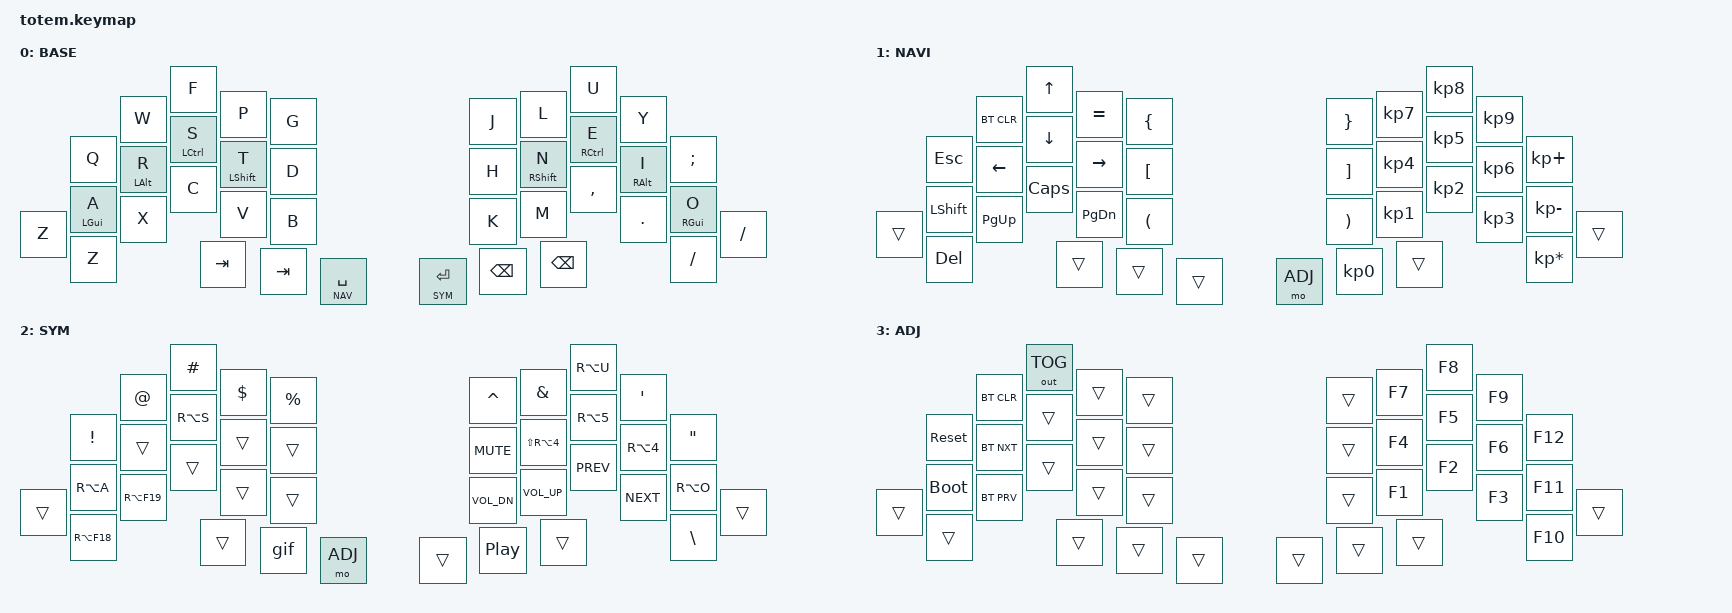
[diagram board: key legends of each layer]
//
//                                                        ▀▀▀▀▀     ▀▀▀▀▀          ▀▀█▀▀
//                                                        ▄▀▀▀▄  ▄  ▄▀▀▀▄  ▄  ▄▀▀▀▄  █  ▄▀▀▀▄
//                                                        █   █  █  █   █  █  █   █  █  █   █
//                                                         ▀▀▀   █   ▀▀▀   █   ▀▀▀   ▀   ▀▀▀
//                                                               █      ▄▄▄█▄▄▄    █   █
//                                                               ▀      █  █  █     █▄█
//                                                             ▀▀▀▀▀    █  █  █      ▀
//                                                                      ▀  ▀  ▀
//
// ─────────────────────────────────────────────────────────────────────────────────────────────────
// Shield-directory keymap (Colemak + German layer).
// This file is included by totem_dongle.keymap so both Mode 1 and Mode 2
// produce identical key behaviour.
// ─────────────────────────────────────────────────────────────────────────────────────────────────

#include <behaviors.dtsi>
#include <dt-bindings/zmk/keys.h>
#include <dt-bindings/zmk/bt.h>
#include <dt-bindings/zmk/outputs.h>

#define BASE 0
#define NAV  1
#define SYM  2
#define ADJ  3

&mt {
  quick-tap-ms = <100>;
  global-quick-tap;
  flavor = "tap-preferred";
  tapping-term-ms = <170>;
};

/ {
    combos {
            compatible = "zmk,combos";
            combo_esc {
                timeout-ms = <50>;
                key-positions = <0 1>;
                bindings = <&kp ESC>;
            };
    };

    macros {
        gif: gif {
            label = "giphy";
            compatible = "zmk,behavior-macro";
            #binding-cells = <0>;
            bindings
                = <&macro_press &kp LSHFT>
                , <&macro_tap &kp N2>
                , <&macro_release &kp LSHFT>
                , <&macro_tap &kp G &kp I &kp F>
                ;
        };
    };

        keymap {
                compatible = "zmk,keymap";
// ─────────────────────────────────────────────────────────────────────────────────────────────────

                base_layer {
// ┏━━━━━━━━━━━━━━━━━━━━━━━━━━━━━━━━━━━━━━━┓
label= "BASE"                              ;
// ┗━━━━━━━━━━━━━━━━━━━━━━━━━━━━━━━━━━━━━━━┛
 bindings = <
                &kp Q       &kp W       &kp F       &kp P       &kp G           &kp J       &kp L       &kp U       &kp Y       &kp SEMI
                &mt LGUI A  &mt LALT R  &mt LCTRL S &mt LSHFT T &kp D           &kp H       &mt RSHFT N &mt RCTRL E &mt RALT I  &mt RGUI O
    &kp Z       &kp Z       &kp X       &kp C       &kp V       &kp B           &kp K       &kp M       &kp COMMA   &kp DOT     &kp FSLH    &kp FSLH
                                        &kp TAB     &kp TAB     &lt NAV SPACE   &lt SYM RET &kp BSPC    &kp BSPC
                        >;
                };

// ─────────────────────────────────────────────────────────────────────────────────────────────────

                nav_layer {
// ┏━━━━━━━━━━━━━━━━━━━━━━━━━━━━━━━━━━━━━━━┓
label= "NAVI"                              ;
// ┗━━━━━━━━━━━━━━━━━━━━━━━━━━━━━━━━━━━━━━━┛
 bindings = <
                &kp ESC     &bt BT_CLR  &kp UP      &kp EQUAL   &kp LBRC        &kp RBRC    &kp KP_N7   &kp KP_N8   &kp KP_N9   &kp KP_PLUS
                &kp LSHFT   &kp LEFT    &kp DOWN    &kp RIGHT   &kp LBKT        &kp RBKT    &kp KP_N4   &kp KP_N5   &kp KP_N6   &kp KP_MINUS
    &trans      &kp DEL     &kp PG_UP   &kp CAPS    &kp PG_DN   &kp LPAR        &kp RPAR    &kp KP_N1   &kp KP_N2   &kp KP_N3   &kp KP_MULTIPLY &trans
                                        &trans      &trans      &trans          &mo ADJ     &kp KP_N0   &trans
                        >;
                };

// ─────────────────────────────────────────────────────────────────────────────────────────────────

                sim_layer {
// ┏━━━━━━━━━━━━━━━━━━━━━━━━━━━━━━━━━━━━━━━┓
label= "SYM"                               ;
// ┗━━━━━━━━━━━━━━━━━━━━━━━━━━━━━━━━━━━━━━━┛
 bindings = <
                &kp EXCL    &kp AT      &kp HASH    &kp DLLR    &kp PRCNT       &kp CARET   &kp AMPS    &kp RA(U)   &kp SQT     &kp DQT
                &kp RA(A)   &trans      &kp RA(S)   &trans      &trans          &kp C_MUTE  &kp LS(RA(N4)) &kp RA(N5) &kp RA(N4)  &kp RA(O)
    &trans      &kp RA(F18) &kp RA(F19) &trans      &trans      &trans          &kp C_VOL_DN &kp C_VOL_UP &kp C_PREV &kp C_NEXT  &kp BSLH    &trans
                                        &trans      &gif        &mo ADJ         &trans      &kp C_PP    &trans
                        >;
                };

// ─────────────────────────────────────────────────────────────────────────────────────────────────

                adjust_layer {
// ┏━━━━━━━━━━━━━━━━━━━━━━━━━━━━━━━━━━━━━━━┓
label= "ADJ"                               ;
// ┗━━━━━━━━━━━━━━━━━━━━━━━━━━━━━━━━━━━━━━━┛
//
// BT_NXT / BT_PRV cycle through Bluetooth profiles 0-4 (up to 5 hosts).
// BT_CLR clears the current profile's pairing — use before re-pairing to a
// new host on the same slot.
// OUT_TOG switches HID output between USB and BLE (relevant for Mode 2 where
// the XIAO BLE also has a USB connection available).
//
 bindings = <
                &sys_reset  &bt BT_CLR &out OUT_TOG &trans      &trans          &trans      &kp F7      &kp F8      &kp F9      &kp F12
                &bootloader &bt BT_NXT  &trans      &trans      &trans          &trans      &kp F4      &kp F5      &kp F6      &kp F11
    &trans      &trans      &bt BT_PRV  &trans      &trans      &trans          &trans      &kp F1      &kp F2      &kp F3      &kp F10     &trans
                                        &trans      &trans      &trans          &trans      &trans      &trans
                        >;
                };
        };
};
